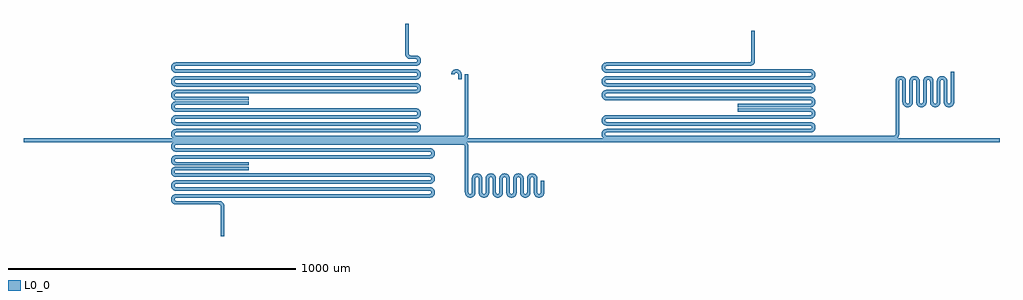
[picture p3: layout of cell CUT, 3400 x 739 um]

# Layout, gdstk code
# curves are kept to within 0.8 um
import gdstk
lib = gdstk.Library(unit=1e-6, precision=1e-09)
def R(c, l, rs):  # rectangles x0, y0, x1, y1
    for r in rs: c.add(gdstk.rectangle(r[:2], r[2:], *l))
def P(c, l, *ps):  # polygons
    for p in ps: c.add(gdstk.Polygon(p, *l))
L0_0 = (0, 0)

cut = lib.new_cell('CUT')
R(cut, L0_0, [(2171.195,2507,2225.183,2538), (2360.173,2516,2404.2,2529), (2404.2,2516,2448.441,2529), (2448.441,2516,2494.476,2529), (2494.476,2516,2541.839,2529), (2541.839,2516,2588.065,2529), (3855.399,2516,3899.829,2529), (3899.829,2516,3946.013,2529), (3946.013,2516,3992.572,2529), (3992.572,2516,4200,2529), (3288.613,2638,3335.898,2650)])
P(cut, L0_0, [(2326,2752),(2324.572,2759.027),(2321.35,2764.074),(2315.577,2768.328),(2308.601,2769.99),(2301.531,2768.797),(2295.487,2764.939),(2291.428,2759.027),(2290,2752),(2302,2752),(2302.838,2755.058),(2305.117,2757.262),(2308.2,2757.997),(2311.228,2757.057),(2313.946,2752.8),(2314,2735.726),(2326,2735.726)],
  [(1326.738,2773.117),(1326.738,2793.203),(1321.813,2790.84),(1317.509,2786.677),(1314.808,2781.333),(1314.01,2776.601),(1314.808,2770.667),(1317.509,2765.323),(1321.813,2761.16),(1326.738,2758.797)],
  [(1326.738,2725.117),(1326.738,2745.203),(1321.813,2742.84),(1317.509,2738.677),(1314.808,2733.333),(1314.01,2728.601),(1314.808,2722.667),(1317.509,2717.323),(1321.813,2713.16),(1326.738,2710.797)],
  [(1326.738,2677.117),(1326.738,2697.203),(1321.813,2694.84),(1317.509,2690.677),(1314.808,2685.333),(1314.01,2680.601),(1314.808,2674.667),(1317.509,2669.323),(1321.813,2665.16),(1326.738,2662.797)],
  [(2142.054,2823.217),(2142.002,2928),(2130.002,2928),(2130.156,2821.651),(2133.722,2813.042),(2142.054,2807.016)],
  [(1327.17,2779.559),(1332,2782),(2142.054,2782),(2142.054,2794),(1332,2794),(1326.738,2793.203)],
  [(2142.054,2770),(1332,2770),(1328.942,2770.838),(1326.738,2773.117),(1326.738,2758.797),(2142.054,2758)],
  [(1327.17,2731.559),(1332,2734),(2142.054,2734),(2142.054,2746),(1332,2746),(1326.738,2745.203)],
  [(2142.054,2722),(1332,2722),(1328.942,2722.838),(1326.738,2725.117),(1326.738,2710.797),(2142.054,2710)],
  [(1327.17,2683.559),(1332,2686),(2142.054,2686),(2142.054,2698),(1332,2698),(1326.738,2697.203)],
  [(1584,2674),(1332,2674),(1328.942,2674.838),(1326.738,2677.117),(1326.738,2662.797),(1584,2662)],
  [(2171.701,2817.203),(2146.832,2818.115),(2143.491,2820.044),(2142.054,2823.217),(2142.054,2807.016),(2167.239,2805.946),(2171.701,2802.883)],
  [(2166.439,2782),(2171.701,2782.797),(2171.701,2797.117),(2167.239,2794.054),(2142.054,2794),(2142.054,2782)],
  [(2171.701,2769.203),(2142.054,2770),(2142.054,2758),(2167.239,2757.946),(2171.701,2754.883)],
  [(2166.439,2734),(2171.701,2734.797),(2171.701,2749.117),(2167.239,2746.054),(2142.054,2746),(2142.054,2734)],
  [(2171.701,2721.203),(2142.054,2722),(2142.054,2710),(2167.239,2709.946),(2171.701,2706.883)],
  [(2166.439,2686),(2171.701,2686.797),(2171.701,2701.117),(2167.239,2698.054),(2142.054,2698),(2142.054,2686)],
  [(2171.882,2782.853),(2176.626,2785.16),(2180.93,2789.323),(2183.631,2794.667),(2184.429,2800.601),(2183.631,2805.333),(2180.93,2810.677),(2176.626,2814.84),(2171.701,2817.203)],
  [(2171.882,2734.853),(2176.626,2737.16),(2180.93,2741.323),(2183.631,2746.667),(2184.429,2752.601),(2183.631,2757.333),(2180.93,2762.677),(2176.626,2766.84),(2171.701,2769.203)],
  [(2171.882,2686.853),(2176.626,2689.16),(2180.93,2693.323),(2183.631,2698.667),(2184.429,2704.601),(2183.631,2709.333),(2180.93,2714.677),(2176.626,2718.84),(2171.701,2721.203)],
  [(2826.738,2773.117),(2826.738,2793.203),(2821.813,2790.84),(2817.509,2786.677),(2814.808,2781.333),(2814.01,2776.601),(2814.808,2770.667),(2817.509,2765.323),(2821.813,2761.16),(2826.738,2758.797)],
  [(2826.738,2725.117),(2826.738,2745.203),(2821.813,2742.84),(2817.509,2738.677),(2814.808,2733.333),(2814.01,2728.601),(2814.808,2722.667),(2817.509,2717.323),(2821.813,2713.16),(2826.738,2710.797)],
  [(2826.738,2677.117),(2826.738,2697.203),(2821.813,2694.84),(2817.509,2690.677),(2814.808,2685.333),(2814.01,2680.601),(2814.808,2674.667),(2817.509,2669.323),(2821.813,2665.16),(2826.738,2662.797)],
  [(2826.942,2779.228),(2832,2782),(3331.127,2782.039),(3335.898,2783.017),(3335.898,2799.217),(3333.906,2795.489),(3329.95,2794),(2830.798,2793.96),(2826.738,2793.203)],
  [(3335.898,2770),(2832,2770),(2828.942,2770.838),(2826.738,2773.117),(2826.738,2758.797),(3335.898,2758)],
  [(2827.169,2731.559),(2832,2734),(3335.898,2734),(3335.898,2746),(2832,2746),(2826.738,2745.203)],
  [(3335.898,2722),(2832,2722),(2828.942,2722.838),(2826.738,2725.117),(2826.738,2710.797),(3335.898,2710)],
  [(2827.169,2683.559),(2832,2686),(3335.898,2686),(3335.898,2698),(2832,2698),(2826.738,2697.203)],
  [(3335.898,2674),(2832,2674),(2828.942,2674.838),(2826.738,2677.117),(2826.738,2662.797),(3335.898,2662)],
  [(3336.838,2783.37),(3344.23,2789.042),(3347.911,2798.823),(3347.95,2904),(3335.95,2904),(3335.898,2783.017)],
  [(3545.875,2769.203),(3335.898,2770),(3335.898,2758),(3540.613,2758),(3543.671,2757.162),(3545.875,2754.883)],
  [(3540.613,2734),(3545.875,2734.797),(3545.875,2749.117),(3543.671,2746.838),(3540.613,2746),(3335.898,2746),(3335.898,2734)],
  [(3545.875,2721.203),(3335.898,2722),(3335.898,2710),(3540.613,2710),(3543.671,2709.162),(3545.875,2706.883)],
  [(3540.613,2686),(3545.875,2686.797),(3545.875,2701.117),(3543.671,2698.838),(3540.613,2698),(3335.898,2698),(3335.898,2686)],
  [(3545.875,2673.203),(3335.898,2674),(3335.898,2662),(3540.613,2662),(3543.671,2661.162),(3545.875,2658.883)],
  [(3541.816,2638.04),(3545.875,2638.797),(3545.875,2653.117),(3543.671,2650.838),(3540.613,2650),(3335.898,2650),(3335.898,2638)],
  [(3546.056,2734.853),(3550.8,2737.16),(3555.105,2741.323),(3557.805,2746.667),(3558.603,2752.601),(3557.411,2758.469),(3555.105,2762.677),(3550.8,2766.84),(3545.875,2769.203)],
  [(3546.056,2686.853),(3550.8,2689.16),(3555.105,2693.323),(3557.805,2698.667),(3558.603,2704.601),(3557.411,2710.469),(3555.105,2714.677),(3550.8,2718.84),(3545.875,2721.203)],
  [(3546.056,2638.853),(3550.8,2641.16),(3555.105,2645.323),(3557.805,2650.667),(3558.603,2656.601),(3557.411,2662.469),(3555.105,2666.677),(3550.8,2670.84),(3545.875,2673.203)],
  [(1326.03,2639.399),(1326.03,2656.979),(1320.845,2654.126),(1317.509,2650.677),(1314.808,2645.333),(1314.01,2640.601),(1314.49,2635.827),(1316.828,2630.315),(1320.845,2625.874),(1326.03,2623.021)],
  [(1326.03,2591.399),(1326.03,2608.979),(1320.845,2606.126),(1317.509,2602.677),(1314.808,2597.333),(1314.01,2592.601),(1314.49,2587.827),(1316.828,2582.315),(1320.845,2577.874),(1326.03,2575.021)],
  [(1326.03,2500.399),(1326.03,2560.979),(1317.509,2554.677),(1314.09,2545.802),(1315.672,2536.423),(1322.064,2529),(800,2529),(800,2516),(1322.064,2516),(1315.672,2508.577),(1314.09,2499.198),(1317.509,2490.323),(1326.03,2484.021)],
  [(1326.03,2452.399),(1326.03,2469.979),(1320.845,2467.126),(1317.509,2463.677),(1314.808,2458.333),(1314.01,2453.601),(1314.49,2448.827),(1316.828,2443.315),(1320.845,2438.874),(1326.03,2436.021)],
  [(1326.084,2640.998),(1327.17,2643.559),(1329.294,2645.355),(1329.294,2657.787),(1326.03,2656.979)],
  [(1329.294,2634.645),(1327.17,2636.441),(1326.03,2639.399),(1326.03,2623.021),(1329.294,2622.213)],
  [(1326.084,2592.998),(1327.17,2595.559),(1329.294,2597.355),(1329.294,2609.787),(1326.03,2608.979)],
  [(1329.294,2586.645),(1327.17,2588.441),(1326.03,2591.399),(1326.03,2575.021),(1329.294,2574.213)],
  [(1326.084,2544.998),(1327.17,2547.559),(1329.294,2549.355),(1329.294,2561.787),(1326.03,2560.979)],
  [(1326.084,2501.998),(1327.17,2504.559),(1329.294,2506.355),(1329.294,2538.645),(1327.17,2540.441),(1326.03,2543.399)],
  [(1329.294,2495.645),(1327.17,2497.441),(1326.03,2500.399),(1326.03,2484.021),(1329.294,2483.213)],
  [(1326.084,2453.998),(1327.17,2456.559),(1329.294,2458.355),(1329.294,2470.787),(1326.03,2469.979)],
  [(1329.294,2447.645),(1327.17,2449.441),(1326.03,2452.399),(1326.03,2436.021),(1329.294,2435.213)],
  [(1329.658,2645.524),(1584,2646),(1584,2658),(1330.798,2657.96),(1329.294,2657.787)],
  [(2171.195,2633.36),(1329.294,2634.645),(1329.294,2622.213),(2166.439,2622),(2171.195,2619.654)],
  [(1329.658,2597.524),(2166.439,2598),(2171.195,2598.64),(2171.195,2612.346),(2166.439,2610),(1332,2610),(1329.294,2609.787)],
  [(2171.195,2585.36),(1329.294,2586.645),(1329.294,2574.213),(2166.439,2574),(2171.195,2571.654)],
  [(1329.658,2549.524),(2166.439,2550),(2171.195,2550.64),(2171.195,2564.346),(2166.439,2562),(1332,2562),(1329.294,2561.787)],
  [(1329.658,2506.524),(2171.195,2507),(2171.195,2538),(1329.294,2538.645)],
  [(2171.195,2495),(1329.294,2495.645),(1329.294,2483.213),(2171.195,2483)],
  [(1330.032,2458.668),(2171.195,2459),(2171.195,2471),(1332,2471),(1329.294,2470.787)],
  [(1584,2447),(1329.294,2447.645),(1329.294,2435.213),(1584,2435)],
  [(2172.17,2598.942),(2176.626,2601.16),(2180.93,2605.323),(2183.631,2610.667),(2184.429,2616.601),(2183.236,2622.469),(2180.185,2627.621),(2171.195,2633.36),(2171.195,2619.654),(2172.436,2616.2),(2171.195,2612.346),(2171.195,2598.64)],
  [(2172.17,2550.942),(2176.626,2553.16),(2180.93,2557.323),(2183.631,2562.667),(2184.429,2568.601),(2183.236,2574.469),(2180.185,2579.621),(2171.195,2585.36),(2171.195,2571.654),(2172.436,2568.2),(2171.195,2564.346),(2171.195,2550.64)],
  [(2214.996,2459),(2225.183,2462.16),(2225.183,2491.84),(2216.198,2494.96),(2171.195,2495),(2171.195,2483),(2215.796,2482.946),(2219.578,2480.874),(2220.993,2477.2),(2219.578,2473.126),(2215.796,2471.054),(2171.195,2471),(2171.195,2459)],
  [(2357.802,2323.09),(2360.173,2323.49),(2360.173,2336.689),(2357.391,2335.163),(2353.844,2335.401),(2351.053,2337.604),(2350.013,2340.599),(2349.961,2502.177),(2347.588,2510),(2341.945,2516),(2360.173,2516),(2360.173,2529),(2341.945,2529),(2347.588,2535),(2349.961,2542.823),(2350,2752),(2338,2752),(2337.381,2541.346),(2335.333,2539.011),(2332,2538),(2225.183,2538),(2225.183,2507),(2332,2507),(2336.76,2504.653),(2338,2501),(2338.161,2338.601),(2340.513,2331.827),(2344.379,2327.254),(2350.667,2323.808)],
  [(2226.151,2462.874),(2231.324,2469.423),(2232.986,2477.601),(2230.781,2485.65),(2225.183,2491.84),(2225.183,2462.16)],
  [(2362.469,2324.203),(2369.35,2328.926),(2373.36,2336.244),(2374.054,2389.8),(2376.126,2393.582),(2380.2,2394.997),(2383.874,2393.582),(2385.946,2389.8),(2386,2341),(2386.996,2335.096),(2393.323,2326.509),(2398.667,2323.808),(2404.2,2323.01),(2404.2,2335.003),(2400.126,2336.418),(2398.013,2340.599),(2397.36,2393.756),(2392.513,2401.939),(2384.173,2406.51),(2377.006,2406.749),(2370.315,2404.172),(2365.16,2399.187),(2362.64,2393.756),(2361.987,2340.599),(2360.173,2336.689),(2360.173,2323.49)],
  [(2405.802,2323.09),(2415.621,2327.254),(2421.36,2336.244),(2422.054,2389.8),(2424.126,2393.582),(2427.8,2394.997),(2431.874,2393.582),(2433.946,2389.8),(2434.64,2336.244),(2439.487,2328.061),(2448.441,2323.366),(2448.441,2336.17),(2446.013,2340.599),(2445.639,2392.585),(2441.35,2401.074),(2433.333,2406.192),(2426.198,2406.91),(2420.423,2405.328),(2414.65,2401.074),(2410.996,2394.904),(2410,2389),(2409.987,2340.599),(2408.171,2336.687),(2404.2,2335.003),(2404.2,2323.01)],
  [(2453.802,2323.09),(2463.621,2327.254),(2469.36,2336.244),(2470.054,2389.8),(2472.126,2393.582),(2475.8,2394.997),(2479.874,2393.582),(2481.946,2389.8),(2482.64,2336.244),(2486.65,2328.926),(2494.476,2323.874),(2493.839,2391.399),(2489.35,2401.074),(2481.333,2406.192),(2474.198,2406.91),(2468.423,2405.328),(2462.65,2401.074),(2458.996,2394.904),(2458,2389),(2457.88,2339.805),(2454.156,2335.401),(2448.441,2336.17),(2448.441,2323.366)],
  [(2501.802,2323.09),(2511.621,2327.254),(2517.36,2336.244),(2518.054,2389.8),(2520.126,2393.582),(2523.8,2394.997),(2527.874,2393.582),(2529.946,2389.8),(2530.64,2336.244),(2534.65,2328.926),(2541.839,2324.096),(2541.839,2391.399),(2537.35,2401.074),(2529.333,2406.192),(2522.198,2406.91),(2516.423,2405.328),(2510.65,2401.074),(2506.996,2394.904),(2506,2389),(2505.88,2339.805),(2503.874,2336.418),(2500.601,2335.03),(2497.117,2335.738),(2494.476,2338.658),(2494.476,2323.874)],
  [(2549.802,2323.09),(2559.621,2327.254),(2565.36,2336.244),(2566.054,2389.8),(2568.126,2393.582),(2571.8,2394.997),(2575.874,2393.582),(2577.946,2389.8),(2578.361,2337.415),(2581.874,2329.845),(2588.065,2324.853),(2588.065,2397.118),(2583.621,2402.746),(2577.333,2406.192),(2570.198,2406.91),(2564.423,2405.328),(2558.65,2401.074),(2554.996,2394.904),(2554,2389),(2553.987,2340.599),(2552.947,2337.604),(2550.156,2335.401),(2545.117,2335.738),(2542.054,2340.2),(2541.839,2391.399),(2541.839,2324.096)],
  [(2826.557,2589.474),(2826.557,2609.147),(2821.813,2606.84),(2817.509,2602.677),(2814.808,2597.333),(2814.01,2592.601),(2814.808,2586.667),(2817.509,2581.323),(2821.813,2577.16),(2826.557,2574.853)],
  [(2826.557,2516),(2826.557,2561.147),(2818.254,2555.621),(2814.251,2546.994),(2815.672,2536.423),(2822.064,2529),(2588.065,2529),(2588.065,2516)],
  [(2597.802,2323.09),(2603.577,2324.672),(2607.621,2327.254),(2610.84,2330.813),(2613.36,2336.244),(2614,2380.885),(2602,2380.885),(2601.88,2339.805),(2598.526,2335.557),(2595.8,2335.003),(2592.772,2335.943),(2590.013,2340.599),(2589.96,2390.202),(2588.065,2397.118),(2588.065,2324.853),(2593.006,2323.251)],
  [(3546.344,2633.058),(3540.614,2634),(3288.614,2634),(3288.614,2622),(3540.614,2622),(3544.009,2620.947),(3546.344,2617.778)],
  [(2826.738,2594.883),(2828.942,2597.162),(2832,2598),(3540.614,2598),(3546.344,2598.942),(3546.344,2614.222),(3544.009,2611.053),(3540.614,2610),(2832,2610),(2826.557,2609.147)],
  [(3546.344,2585.058),(3540.614,2586),(2832,2586),(2828.604,2587.053),(2826.557,2589.474),(2826.557,2574.853),(2832,2574),(3540.614,2574),(3544.009,2572.947),(3546.344,2569.778)],
  [(2826.738,2546.883),(2828.942,2549.162),(2832,2550),(3540.614,2550),(3546.344,2550.942),(3546.344,2566.222),(3544.009,2563.053),(3540.614,2562),(2832,2562),(2826.557,2561.147)],
  [(3546.344,2516),(3546.344,2538),(2832,2538),(2828.604,2539.053),(2826.557,2541.474),(2826.557,2516)],
  [(3855.399,2516),(3855.399,2529),(3841.945,2529),(3847.588,2535),(3849.961,2542.823),(3850,2728),(3851.55,2732.025),(3855.399,2733.97),(3855.399,2745.99),(3848.423,2744.328),(3843.487,2740.939),(3839.428,2735.027),(3838.04,2729.202),(3838,2544),(3835.333,2539.011),(3832,2538),(3546.344,2538),(3546.344,2516)],
  [(3546.518,2598.996),(3550.801,2601.16),(3555.105,2605.323),(3557.805,2610.667),(3558.604,2616.601),(3557.411,2622.469),(3555.105,2626.677),(3550.801,2630.84),(3546.344,2633.058)],
  [(3546.518,2550.996),(3550.801,2553.16),(3555.105,2557.323),(3557.805,2562.667),(3558.604,2568.601),(3557.411,2574.469),(3555.105,2578.677),(3550.801,2582.84),(3546.344,2585.058)],
  [(3856.2,2733.997),(3860.171,2732.313),(3861.987,2728.401),(3862.64,2651.244),(3865.874,2644.845),(3871.35,2640.215),(3878.198,2638.09),(3885.333,2638.808),(3893.35,2643.926),(3897.839,2653.601),(3898,2728),(3899.829,2732.313),(3899.829,2745.51),(3890.65,2740.074),(3886.361,2731.585),(3885.987,2655.599),(3884.45,2651.975),(3881.391,2650.163),(3876.441,2651.17),(3874.013,2655.599),(3873.36,2732.756),(3867.621,2741.746),(3857.802,2745.91),(3855.399,2745.99),(3855.399,2733.97)],
  [(3900.441,2732.83),(3903.399,2733.97),(3906.526,2733.443),(3909.946,2728.8),(3910,2656),(3910.996,2650.096),(3914.65,2643.926),(3920.423,2639.672),(3927.399,2638.01),(3934.469,2639.203),(3942.126,2644.845),(3945.839,2653.601),(3946.013,2744.965),(3938.65,2740.074),(3934.361,2731.585),(3933.987,2655.599),(3932.45,2651.975),(3929.391,2650.163),(3924.441,2651.17),(3922.013,2655.599),(3922,2728),(3921.004,2733.904),(3914.677,2742.491),(3909.333,2745.192),(3903.399,2745.99),(3899.829,2745.51)],
  [(3946.12,2729.195),(3948.126,2732.582),(3952.2,2733.997),(3955.874,2732.582),(3957.946,2728.8),(3958,2656),(3959.428,2648.973),(3962.65,2643.926),(3968.423,2639.672),(3975.399,2638.01),(3982.469,2639.203),(3988.513,2643.061),(3992.572,2648.973),(3992.572,2744.391),(3985.874,2739.155),(3982.161,2730.399),(3981.987,2655.599),(3980.709,2652.282),(3977.778,2650.269),(3972.772,2650.943),(3970.054,2655.2),(3970,2728),(3968.572,2735.027),(3965.35,2740.074),(3959.577,2744.328),(3953.802,2745.91),(3947.827,2745.51),(3946.013,2744.965)],
  [(3993.36,2651.244),(3994.013,2728.401),(3996.126,2732.582),(4000.2,2733.997),(4004.171,2732.313),(4005.987,2728.401),(4006,2656),(4007.935,2647.882),(4014.315,2640.828),(4024.601,2638.01),(4033.685,2640.828),(4040.572,2648.973),(4042,2656),(4042,2760.982),(4030,2760.982),(4029.987,2655.599),(4028.709,2652.282),(4025.778,2650.269),(4020.772,2650.943),(4018.054,2655.2),(4018,2728),(4017.004,2733.904),(4013.35,2740.074),(4007.577,2744.328),(4000.601,2745.99),(3992.572,2744.391),(3992.572,2648.973)],
  [(1327.244,2409.347),(1326.003,2412.8),(1327.244,2416.653),(1327.244,2430.36),(1318.254,2424.621),(1315.203,2419.469),(1314.01,2413.601),(1314.808,2407.667),(1317.509,2402.323),(1326.096,2395.996),(1327.244,2395.64)],
  [(1327.244,2361.347),(1326.003,2364.8),(1327.244,2368.653),(1327.244,2382.36),(1318.254,2376.621),(1315.203,2371.469),(1314.01,2365.601),(1314.808,2359.667),(1317.509,2354.323),(1326.096,2347.996),(1327.244,2347.64)],
  [(1327.244,2313.347),(1326.003,2316.8),(1327.244,2320.653),(1327.244,2334.36),(1318.254,2328.621),(1315.203,2323.469),(1314.01,2317.601),(1314.808,2311.667),(1317.509,2306.323),(1326.096,2299.996),(1327.244,2299.64)],
  [(1327.418,2416.874),(1332,2419),(1584,2419),(1584,2431),(1330.798,2430.96),(1327.244,2430.36)],
  [(2215.796,2406.973),(1332,2407),(1327.244,2409.347),(1327.244,2395.64),(2215.796,2394.946)],
  [(1327.418,2368.874),(1332,2371),(2214.996,2371),(2215.796,2383.054),(1332,2383),(1327.244,2382.36)],
  [(2215.796,2358.973),(1332,2359),(1327.244,2361.347),(1327.244,2347.64),(2215.796,2346.946)],
  [(1327.418,2320.874),(1332,2323),(2214.996,2323),(2215.796,2335.054),(1332,2335),(1327.244,2334.36)],
  [(1499.185,2293),(1498.23,2298.786),(1494.718,2304.868),(1489.146,2309.144),(1483.535,2310.846),(1332,2311),(1327.244,2313.347),(1327.244,2299.64),(1330.798,2299.04),(1481.185,2299),(1484.838,2297.76),(1487.185,2293),(1487.185,2189),(1499.185,2189)],
  [(2216.198,2371.04),(2223.114,2372.935),(2228.742,2377.379),(2232.188,2383.667),(2232.986,2389.601),(2231.324,2396.577),(2227.935,2401.513),(2222.023,2405.572),(2215.796,2406.973),(2215.796,2394.946),(2219.578,2392.874),(2220.993,2389.2),(2219.578,2385.126),(2215.796,2383.054)],
  [(2216.198,2323.04),(2223.114,2324.935),(2228.742,2329.379),(2232.188,2335.667),(2232.986,2341.601),(2231.324,2348.577),(2227.935,2353.513),(2222.023,2357.572),(2215.796,2358.973),(2215.796,2346.946),(2219.578,2344.874),(2220.993,2341.2),(2219.578,2337.126),(2215.796,2335.054)])

lib.write_gds('CUT.gds')
